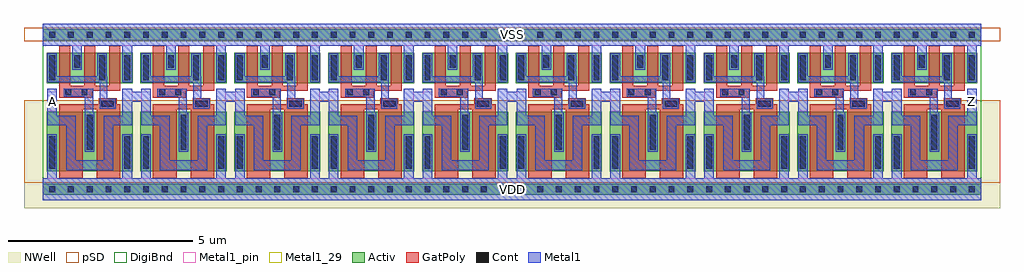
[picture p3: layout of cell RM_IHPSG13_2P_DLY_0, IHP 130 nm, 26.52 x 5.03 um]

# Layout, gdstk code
from math import pi, radians
import gdstk
lib = gdstk.Library(unit=1e-6, precision=1e-09)
def R(c, l, rs):  # rectangles x0, y0, x1, y1
    for r in rs: c.add(gdstk.rectangle(r[:2], r[2:], *l))
def A(c, l, x, y, w, h, nx, ny, dx, dy):  # array of equal rectangles
    R(c, l, [(x+i*dx, y+j*dy, x+i*dx+w, y+j*dy+h) for i in range(nx) for j in range(ny)])
def P(c, l, *ps):  # polygons
    for p in ps: c.add(gdstk.Polygon(p, *l))
Activ = (1, 0)
GatPoly = (5, 0)
Cont = (6, 0)
Metal1 = (8, 0)
Metal1_pin = (8, 2)
Metal1_29 = (8, 29)
pSD = (14, 0)
DigiBnd = (16, 0)
NWell = (31, 0)

lvsres_db_0x04007e9a = lib.new_cell('lvsres_db_0x04007e9a')
R(lvsres_db_0x04007e9a, Metal1, [(-0.5,0,0.5,0.26)])
R(lvsres_db_0x04007e9a, Metal1_pin, [(-0.5,0,-0.3,0.26), (0.3,0,0.5,0.26)])
R(lvsres_db_0x04007e9a, Metal1_29, [(-0.3,0,0.3,0.26)])
lvsres_db_0x04007e9a.add(gdstk.Label('MINUS', (0.4,0.13), layer=63, texttype=0))
lvsres_db_0x04007e9a.add(gdstk.Label('PLUS', (-0.4,0.13), layer=63, texttype=0))

rsc_ihpsg13_cdlyx1_dummy = lib.new_cell('RSC_IHPSG13_CDLYX1_DUMMY')
R(rsc_ihpsg13_cdlyx1_dummy, Activ, [(0,-0.15,2.55,0.15), (0.105,0.49,2.445,1.32), (0.105,2.1,2.445,3.72), (0,4.05,2.55,4.35)])
P(rsc_ihpsg13_cdlyx1_dummy, GatPoly, [(0.445,0.3),(0.445,1.72),(1.34,1.72),(1.34,1.52),(2.105,1.52),(2.105,0.3),(1.805,0.3),(1.805,1.39),(1.425,1.39),(1.425,0.3),(1.125,0.3),(1.125,1.39),(0.745,1.39),(0.745,0.3)],
  [(1.525,1.73),(1.525,1.9),(0.445,1.9),(0.445,3.9),(1.085,3.9),(1.085,2.03),(1.465,2.03),(1.465,3.9),(2.105,3.9),(2.105,1.9),(2.005,1.9),(2.005,1.73)])
A(rsc_ihpsg13_cdlyx1_dummy, Cont, 0.175, -0.08, 0.16, 0.16, 5, 2, 0.51, 4.2)
R(rsc_ihpsg13_cdlyx1_dummy, Cont, [(0.175,0.56,0.335,1.24), (0.855,0.56,1.015,0.9), (1.535,0.56,1.695,1.24), (2.215,0.56,2.375,1.24), (0.615,1.49,0.775,1.65), (1.055,1.49,1.215,1.65), (1.595,1.8,1.935,1.96), (1.195,2.175,1.355,3.13), (0.175,2.76,0.335,3.65), (2.215,2.76,2.375,3.65)])
R(rsc_ihpsg13_cdlyx1_dummy, Metal1, [(0.125,1.47,0.385,2.465), (2.165,1.47,2.425,2.465), (0.125,2.205,0.895,2.465), (0.635,2.205,0.895,3.68), (1.655,2.205,1.915,3.68), (1.655,2.205,2.425,2.465), (0.635,3.42,1.915,3.68)])
P(rsc_ihpsg13_cdlyx1_dummy, Metal1, [(0.125,0.51),(0.125,1.29),(1.545,1.29),(1.545,2.01),(1.985,2.01),(1.985,1.75),(1.755,1.75),(1.755,1.13),(1.745,1.13),(1.745,0.51),(1.485,0.51),(1.485,1.13),(0.385,1.13),(0.385,0.51)],
  [(0.565,1.47),(0.565,1.69),(1.145,1.69),(1.145,3.18),(1.405,3.18),(1.405,2.125),(1.365,2.125),(1.365,1.47)],
  [(0.125,2.71),(0.125,3.9),(0,3.9),(0,4.5),(2.55,4.5),(2.55,3.9),(2.425,3.9),(2.425,2.71),(2.165,2.71),(2.165,3.9),(0.385,3.9),(0.385,2.71)],
  [(0,-0.3),(0,0.3),(0.805,0.3),(0.805,0.95),(1.065,0.95),(1.065,0.3),(2.165,0.3),(2.165,1.29),(2.425,1.29),(2.425,0.3),(2.55,0.3),(2.55,-0.3)])
R(rsc_ihpsg13_cdlyx1_dummy, Metal1_pin, [(0,-0.3,2.55,0.3), (2.165,1.47,2.425,2.465), (0.125,1.56,0.385,2.09), (0,3.9,2.55,4.5)])
R(rsc_ihpsg13_cdlyx1_dummy, pSD, [(-0.51,-0.18,3.06,0.18), (-0.51,1.785,3.06,4.02)])
R(rsc_ihpsg13_cdlyx1_dummy, DigiBnd, [(0,-0.3,2.55,4.5)])
R(rsc_ihpsg13_cdlyx1_dummy, NWell, [(-0.51,1.785,3.06,4.725)])
rsc_ihpsg13_cdlyx1_dummy.add(gdstk.Reference(lvsres_db_0x04007e9a, (1.305,3.68), rotation=pi))
rsc_ihpsg13_cdlyx1_dummy.add(gdstk.Label('VDD!', (0.84,4.2), layer=8, texttype=2))
rsc_ihpsg13_cdlyx1_dummy.add(gdstk.Label('VSS!', (1.155,0.005), layer=8, texttype=2))
rsc_ihpsg13_cdlyx1_dummy.add(gdstk.Label('A', (0.265,1.785), layer=8, texttype=25))
rsc_ihpsg13_cdlyx1_dummy.add(gdstk.Label('Z', (2.3,1.755), layer=8, texttype=25))

rm_ihpsg13_2p_dly_0 = lib.new_cell('RM_IHPSG13_2P_DLY_0')
A(rm_ihpsg13_2p_dly_0, Metal1, 2.425, 2.38, 0.25, 0.26, 9, 1, 2.55, 0)
R(rm_ihpsg13_2p_dly_0, Metal1_pin, [(0,-0.3,25.5,0.3), (0.125,2.11,0.385,2.64), (25.115,2.11,25.375,2.64), (0,3.9,25.5,4.5)])
rm_ihpsg13_2p_dly_0.add(gdstk.Reference(rsc_ihpsg13_cdlyx1_dummy, (0,4.2), x_reflection=True))
rm_ihpsg13_2p_dly_0.add(gdstk.Reference(rsc_ihpsg13_cdlyx1_dummy, (2.55,4.2), x_reflection=True))
rm_ihpsg13_2p_dly_0.add(gdstk.Reference(rsc_ihpsg13_cdlyx1_dummy, (5.1,4.2), x_reflection=True))
rm_ihpsg13_2p_dly_0.add(gdstk.Reference(rsc_ihpsg13_cdlyx1_dummy, (7.65,4.2), x_reflection=True))
rm_ihpsg13_2p_dly_0.add(gdstk.Reference(rsc_ihpsg13_cdlyx1_dummy, (10.2,4.2), x_reflection=True))
rm_ihpsg13_2p_dly_0.add(gdstk.Reference(rsc_ihpsg13_cdlyx1_dummy, (12.75,4.2), x_reflection=True))
rm_ihpsg13_2p_dly_0.add(gdstk.Reference(rsc_ihpsg13_cdlyx1_dummy, (15.3,4.2), x_reflection=True))
rm_ihpsg13_2p_dly_0.add(gdstk.Reference(rsc_ihpsg13_cdlyx1_dummy, (17.85,4.2), x_reflection=True))
rm_ihpsg13_2p_dly_0.add(gdstk.Reference(rsc_ihpsg13_cdlyx1_dummy, (20.4,4.2), x_reflection=True))
rm_ihpsg13_2p_dly_0.add(gdstk.Reference(rsc_ihpsg13_cdlyx1_dummy, (22.95,4.2), x_reflection=True))
rm_ihpsg13_2p_dly_0.add(gdstk.Label('VDD', (12.75,0), layer=8, texttype=25))
rm_ihpsg13_2p_dly_0.add(gdstk.Label('VSS', (12.75,4.2), layer=8, texttype=25))
rm_ihpsg13_2p_dly_0.add(gdstk.Label('A', (0.255,2.375), layer=8, texttype=25))
rm_ihpsg13_2p_dly_0.add(gdstk.Label('Z', (25.245,2.375), layer=8, texttype=25))

lib.write_gds('RM_IHPSG13_2P_DLY_0.gds')
